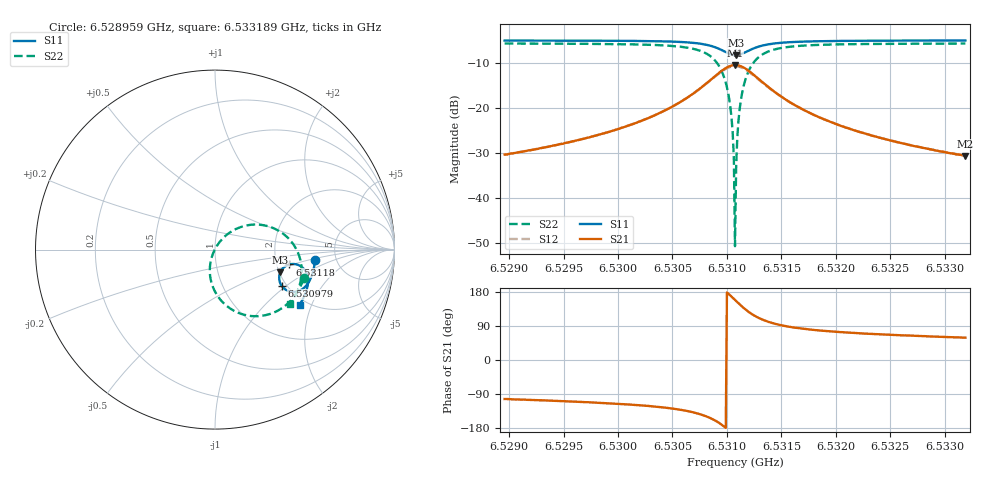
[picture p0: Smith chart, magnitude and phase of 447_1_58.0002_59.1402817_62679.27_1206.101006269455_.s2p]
#  HZ  S  RI  R  50.00
! Rohde & Schwarz Vector Network Analyzer
! Rohde-Schwarz,ZNB20-2Port,1311601062101988,3.16
! Created: UTC 3/21/2024, 1:10:17 AM
! freq[Hz]  re:S11  im:S11  re:S21  im:S21  re:S12  im:S12  re:S22  im:S22
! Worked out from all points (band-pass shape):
!   401 points, 6.528959 GHz to 6.533189 GHz, reference 50 ohm
!   highest |S21| = -10.45 dB at 6.531074 GHz (marker M1); lowest = -30.6 dB at 6.533189 GHz (marker M2)
!   |S21| within 3 dB of the highest: 6.530865 GHz to 6.531287 GHz (422.9 kHz wide, 0.00648 % of centre)
!   lowest |S11| = -8.3 dB at 6.531085 GHz (marker M3), VSWR 2.25, Z = 101 - j30.2 ohm
!   |S11| at or under -10 dB: nowhere
!   |S22| runs from -50.6 to -5.7 dB; largest |S21 - S12| = 0.012
!   S11 on the Smith chart (normalised r, x): 6.528959 GHz: 3.45, -0.58; 6.530979 GHz: 1.88, -0.93; 6.53118 GHz: 2.35, -0.47; 6.533189 GHz: 1.82, -1.64
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6.5289593e9  0.5582 -0.0576  -0.00682 -0.0298  -0.00742 -0.0296  0.4948 -0.1605
6.5296679e9  0.5478 -0.1162  -0.016 -0.0422  -0.017 -0.042  0.465 -0.2259
6.5303764e9  0.5198 -0.1856  -0.0489 -0.0725  -0.051 -0.0714  0.3855 -0.3175
6.5307994e9  0.4501 -0.2346  -0.1543 -0.0982  -0.1566 -0.0922  0.1827 -0.3673
6.5309052e9  0.4064 -0.2297  -0.2224 -0.0726  -0.2216 -0.0635  0.0664 -0.3147
6.5309792e9  0.3724 -0.2032  -0.2727 -0.0157  -0.2674 -0.00618  -0.0107 -0.2107
6.5310321e9  0.3582 -0.1682  -0.2896 0.0505  -0.2808 0.0575  -0.0284 -0.0978
6.5310427e9  0.3576 -0.16  -0.2893 0.0653  -0.2798 0.0716  -0.0255 -0.0736
6.5310532e9  0.3577 -0.1518  -0.2876 0.0804  -0.2776 0.0858  -0.0201 -0.0492
6.5310638e9  0.3587 -0.1434  -0.2842 0.0952  -0.2739 0.0996  -0.0125 -0.0252
6.5310744e9  0.3607 -0.1353  -0.2795 0.1098  -0.2692 0.1132  -0.00223 -0.00192
6.531085e9  0.3635 -0.1274  -0.2733 0.1239  -0.2629 0.1263  0.0101 0.0201
6.5310955e9  0.3671 -0.1198  -0.2658 0.1371  -0.2555 0.1388  0.0246 0.0408
6.5311061e9  0.3716 -0.1129  -0.2572 0.1496  -0.247 0.1503  0.0408 0.0597
6.5311167e9  0.3766 -0.1064  -0.2473 0.1609  -0.2375 0.1609  0.0586 0.0768
6.5311378e9  0.3883 -0.0955  -0.2255 0.1799  -0.2167 0.1785  0.0977 0.1047
6.5311802e9  0.4146 -0.0827  -0.1776 0.2029  -0.1711 0.1999  0.1804 0.1354
6.5312542e9  0.4567 -0.0832  -0.1037 0.2052  -0.1002 0.2023  0.3054 0.127
6.5313599e9  0.4933 -0.1054  -0.0396 0.1751  -0.0383 0.1734  0.4098 0.062
6.531783e9  0.5182 -0.1848  0.0153 0.0845  0.0164 0.0842  0.4829 -0.1278
6.5324915e9  0.4985 -0.2563  0.0175 0.0405  0.0182 0.0402  0.4552 -0.2443
6.5331895e9  0.4712 -0.308  0.0152 0.0253  0.0158 0.0251  0.4205 -0.3058
